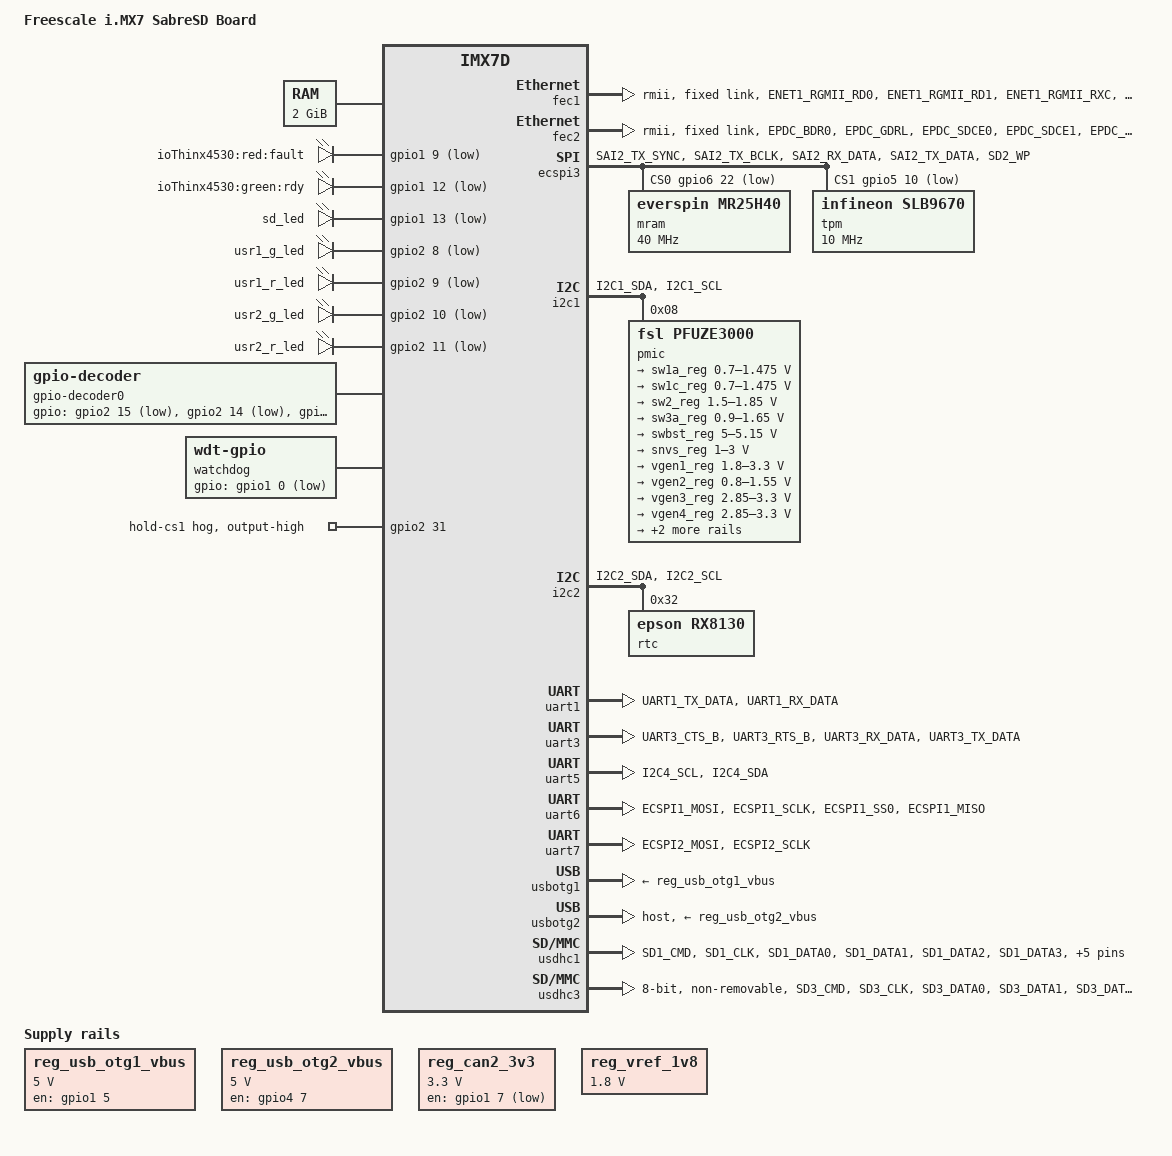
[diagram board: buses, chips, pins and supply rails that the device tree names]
/*
 * Copyright (C) 2015 Freescale Semiconductor, Inc.
 *
 * This file is dual-licensed: you can use it either under the terms
 * of the GPL or the X11 license, at your option. Note that this dual
 * licensing only applies to this file, and not this project as a
 * whole.
 *
 *  a) This file is free software; you can redistribute it and/or
 *     modify it under the terms of the GNU General Public License as
 *     published by the Free Software Foundation; either version 2 of the
 *     License, or (at your option) any later version.
 *
 *     This file is distributed in the hope that it will be useful,
 *     but WITHOUT ANY WARRANTY; without even the implied warranty of
 *     MERCHANTABILITY or FITNESS FOR A PARTICULAR PURPOSE.  See the
 *     GNU General Public License for more details.
 *
 * Or, alternatively,
 *
 *  b) Permission is hereby granted, free of charge, to any person
 *     obtaining a copy of this software and associated documentation
 *     files (the "Software"), to deal in the Software without
 *     restriction, including without limitation the rights to use,
 *     copy, modify, merge, publish, distribute, sublicense, and/or
 *     sell copies of the Software, and to permit persons to whom the
 *     Software is furnished to do so, subject to the following
 *     conditions:
 *
 *     The above copyright notice and this permission notice shall be
 *     included in all copies or substantial portions of the Software.
 *
 *     THE SOFTWARE IS PROVIDED "AS IS", WITHOUT WARRANTY OF ANY KIND,
 *     EXPRESS OR IMPLIED, INCLUDING BUT NOT LIMITED TO THE WARRANTIES
 *     OF MERCHANTABILITY, FITNESS FOR A PARTICULAR PURPOSE AND
 *     NONINFRINGEMENT. IN NO EVENT SHALL THE AUTHORS OR COPYRIGHT
 *     HOLDERS BE LIABLE FOR ANY CLAIM, DAMAGES OR OTHER LIABILITY,
 *     WHETHER IN AN ACTION OF CONTRACT, TORT OR OTHERWISE, ARISING
 *     FROM, OUT OF OR IN CONNECTION WITH THE SOFTWARE OR THE USE OR
 *     OTHER DEALINGS IN THE SOFTWARE.
 */

/dts-v1/;

#include <dt-bindings/input/input.h>
#include "imx7d.dtsi"

/ {
	model = "Freescale i.MX7 SabreSD Board";
	compatible = "fsl,imx7d-sdb", "fsl,imx7d";

	memory {
		reg = <0x80000000 0x80000000>;
	};

	regulators {
		compatible = "simple-bus";
		#address-cells = <1>;
		#size-cells = <0>;

		reg_usb_otg1_vbus: regulator@0 {
			compatible = "regulator-fixed";
			reg = <0>;
			regulator-name = "usb_otg1_vbus";
			regulator-min-microvolt = <5000000>;
			regulator-max-microvolt = <5000000>;
			gpio = <&gpio1 5 GPIO_ACTIVE_HIGH>;
			enable-active-high;
		};

		reg_usb_otg2_vbus: regulator@1 {
			compatible = "regulator-fixed";
			reg = <1>;
			regulator-name = "usb_otg2_vbus";
			regulator-min-microvolt = <5000000>;
			regulator-max-microvolt = <5000000>;
			gpio = <&gpio4 7 GPIO_ACTIVE_HIGH>;
			enable-active-high;
		};

		reg_can2_3v3: regulator@2 {
			compatible = "regulator-fixed";
			reg = <2>;
			regulator-name = "can2-3v3";
			regulator-min-microvolt = <3300000>;
			regulator-max-microvolt = <3300000>;
			gpio = <&gpio1 7 GPIO_ACTIVE_LOW>;
		};

		reg_vref_1v8: regulator@3 {
			compatible = "regulator-fixed";
			reg = <3>;
			regulator-name = "vref-1v8";
			regulator-min-microvolt = <1800000>;
			regulator-max-microvolt = <1800000>;
		};
	};
};

&cpu0 {
	arm-supply = <&sw1a_reg>;
};
/*
&fec1 {
	pinctrl-names = "default";
	pinctrl-0 = <&pinctrl_enet1>;
	assigned-clocks = <&clks IMX7D_ENET1_TIME_ROOT_SRC>,
			  <&clks IMX7D_ENET1_TIME_ROOT_CLK>;
	assigned-clock-parents = <&clks IMX7D_PLL_ENET_MAIN_100M_CLK>;
	assigned-clock-rates = <0>, <100000000>;
	phy-mode = "rgmii";
	phy-handle = <&ethphy0>;
	fsl,magic-packet;
	status = "okay";

	mdio {
		#address-cells = <1>;
		#size-cells = <0>;

		ethphy0: ethernet-phy@0 {
			reg = <0>;
		};

		ethphy1: ethernet-phy@1 {
			reg = <1>;
		};
	};
};
*/

&fec1 {
	pinctrl-names = "default";
	pinctrl-0 = <&pinctrl_enet1>;

	clocks = <&clks IMX7D_ENET_AXI_ROOT_CLK>,
		<&clks IMX7D_ENET_AXI_ROOT_CLK>,
		<&clks IMX7D_ENET1_TIME_ROOT_CLK>,
		<&clks IMX7D_PLL_ENET_MAIN_50M_CLK>;
	clock-names = "ipg", "ahb", "ptp",
		"enet_clk_ref";

	assigned-clocks = <&clks IMX7D_ENET1_TIME_ROOT_SRC>,
			<&clks IMX7D_ENET1_TIME_ROOT_CLK>;
	assigned-clock-parents = <&clks IMX7D_PLL_ENET_MAIN_100M_CLK>;
	assigned-clock-rates = <0>, <100000000>;
	phy-mode = "rmii";
	phy-reset-gpios = <&gpio1 2 GPIO_ACTIVE_HIGH>;
	local-mac-address = [00 04 9F 01 1B B9];
	fsl,magic-packet;
	status = "okay";
	label = "fec";

	fixed-link {
	      speed = <100>;
	      full-duplex;
	};
	mii_bus0: mdio {
		#address-cells = <1>;
		#size-cells = <0>;
	};
};

&fec2 {
	pinctrl-names = "default";
	pinctrl-0 = <&pinctrl_enet2>;

	clocks = <&clks IMX7D_ENET_AXI_ROOT_CLK>,
		<&clks IMX7D_ENET_AXI_ROOT_CLK>,
		<&clks IMX7D_ENET2_TIME_ROOT_CLK>,
		<&clks IMX7D_PLL_ENET_MAIN_50M_CLK>;
	clock-names = "ipg", "ahb", "ptp",
		"enet_clk_ref";

	assigned-clocks = <&clks IMX7D_ENET2_TIME_ROOT_SRC>,
			<&clks IMX7D_ENET2_TIME_ROOT_CLK>;
	assigned-clock-parents = <&clks IMX7D_PLL_ENET_MAIN_100M_CLK>;
	assigned-clock-rates = <0>, <100000000>;
	phy-mode = "rmii";
	local-mac-address = [00 04 9F 01 1B B8];
	fsl,magic-packet;
	status = "okay";

	fixed-link {
	      speed = <100>;
	      full-duplex;
	};
};

&ecspi3 {
	fsl,spi-num-chipselects = <2>;
        pinctrl-names = "default";
        pinctrl-0 = <&pinctrl_ecspi3>;
        cs-gpios = <&gpio6 22 GPIO_ACTIVE_LOW> , <&gpio5 10 GPIO_ACTIVE_LOW>;
        status = "okay";

        mram@0 {
                compatible = "everspin,mr25h40","mr25h40";
                #address-cells = <1>;
                #size-cells = <1>;
                spi-max-frequency = <40000000>;
                spi-cpol = <0>;
                spi-cpha = <0>;
                reg = <0>;
        };


        tpm@1 {

                compatible = "infineon,slb9670";
                #address-cells = <1>;
                #size-cells = <1>;
                spi-max-frequency = <10000000>;
                spi-cpol = <0>;
                spi-cpha = <0>;
                reg = <1>;
        };

};

&i2c1 {
	pinctrl-names = "default";
	pinctrl-0 = <&pinctrl_i2c1>;
	status = "okay";

	pmic: pfuze3000@08 {
		compatible = "fsl,pfuze3000";
		reg = <0x08>;

		regulators {
			sw1a_reg: sw1a {
				regulator-min-microvolt = <700000>;
				regulator-max-microvolt = <1475000>;
				regulator-boot-on;
				regulator-always-on;
				regulator-ramp-delay = <6250>;
			};

			/* use sw1c_reg to align with pfuze100/pfuze200 */
			sw1c_reg: sw1b {
				regulator-min-microvolt = <700000>;
				regulator-max-microvolt = <1475000>;
				regulator-boot-on;
				regulator-always-on;
				regulator-ramp-delay = <6250>;
			};

			sw2_reg: sw2 {
				regulator-min-microvolt = <1500000>;
				regulator-max-microvolt = <1850000>;
				regulator-boot-on;
				regulator-always-on;
			};

			sw3a_reg: sw3 {
				regulator-min-microvolt = <900000>;
				regulator-max-microvolt = <1650000>;
				regulator-boot-on;
				regulator-always-on;
			};

			swbst_reg: swbst {
				regulator-min-microvolt = <5000000>;
				regulator-max-microvolt = <5150000>;
			};

			snvs_reg: vsnvs {
				regulator-min-microvolt = <1000000>;
				regulator-max-microvolt = <3000000>;
				regulator-boot-on;
				regulator-always-on;
			};

			vref_reg: vrefddr {
				regulator-boot-on;
				regulator-always-on;
			};

			vgen1_reg: vldo1 {
				regulator-min-microvolt = <1800000>;
				regulator-max-microvolt = <3300000>;
				regulator-always-on;
			};

			vgen2_reg: vldo2 {
				regulator-min-microvolt = <800000>;
				regulator-max-microvolt = <1550000>;
			};

			vgen3_reg: vccsd {
				regulator-min-microvolt = <2850000>;
				regulator-max-microvolt = <3300000>;
				regulator-always-on;
			};

			vgen4_reg: v33 {
				regulator-min-microvolt = <2850000>;
				regulator-max-microvolt = <3300000>;
				regulator-always-on;
			};

			vgen5_reg: vldo3 {
				regulator-min-microvolt = <1800000>;
				regulator-max-microvolt = <3300000>;
				regulator-always-on;
			};

			vgen6_reg: vldo4 {
				regulator-min-microvolt = <1800000>;
				regulator-max-microvolt = <3300000>;
				regulator-always-on;
			};
		};
	};
};

&i2c2 {
	pinctrl-names = "default";
	pinctrl-0 = <&pinctrl_i2c2>;
	status = "okay";

	rtc@32 {
                compatible = "epson,rx8130";
                reg = <0x32>;
        };

};

&uart1 {//Debug
	pinctrl-names = "default";
	pinctrl-0 = <&pinctrl_uart1>;
	assigned-clocks = <&clks IMX7D_UART1_ROOT_SRC>;
	assigned-clock-parents = <&clks IMX7D_PLL_SYS_MAIN_240M_CLK>;
	status = "okay";
};
/*
&uart2 {//MR
	pinctrl-names = "default";
	pinctrl-0 = <&pinctrl_uart2>;
	assigned-clocks = <&clks IMX7D_UART2_ROOT_SRC>;
	assigned-clock-parents = <&clks IMX7D_PLL_SYS_MAIN_240M_CLK>;
	status = "okay";
};
*/

&uart3 {//ML
	pinctrl-names = "default";
	pinctrl-0 = <&pinctrl_uart3>;
	assigned-clocks = <&clks IMX7D_UART3_ROOT_SRC>;
	assigned-clock-parents = <&clks IMX7D_PLL_SYS_MAIN_240M_CLK>;
	status = "okay";
};

&uart5 {//serial port 2
	pinctrl-names = "default";
	pinctrl-0 = <&pinctrl_uart5>;
	assigned-clocks = <&clks IMX7D_UART5_ROOT_SRC>;
	assigned-clock-parents = <&clks IMX7D_PLL_SYS_MAIN_240M_CLK>;
	status = "okay";

	out1-gpios = <&gpio2 18 GPIO_ACTIVE_HIGH>; //P1_232_EN
	out2-gpios = <&gpio2 19 GPIO_ACTIVE_HIGH>; //P1_485_EN0
	out3-gpios = <&gpio2 24 GPIO_ACTIVE_HIGH>; //P1_485_EN1
	out4-gpios = <&gpio2 25 GPIO_ACTIVE_HIGH>; //P1_485_EN2
	out5-gpios = <&gpio2 27 GPIO_ACTIVE_HIGH>; //P2_485_EN0
	out6-gpios = <&gpio2 30 GPIO_ACTIVE_HIGH>; //P2_485_EN1
	fsl,uart-has-rtscts;

	fsl,uart-has-multimode;
	fsl,rs485-p2;

};

&uart6 {//serial port 1
	pinctrl-names = "default";
	pinctrl-0 = <&pinctrl_uart6>;
	assigned-clocks = <&clks IMX7D_UART6_ROOT_SRC>;
	assigned-clock-parents = <&clks IMX7D_PLL_SYS_MAIN_240M_CLK>;
	status = "okay";

	out1-gpios = <&gpio2 18 GPIO_ACTIVE_HIGH>; //P1_232_EN
	out2-gpios = <&gpio2 19 GPIO_ACTIVE_HIGH>; //P1_485_EN0
	out3-gpios = <&gpio2 24 GPIO_ACTIVE_HIGH>; //P1_485_EN1
	out4-gpios = <&gpio2 25 GPIO_ACTIVE_HIGH>; //P1_485_EN2
	out5-gpios = <&gpio2 27 GPIO_ACTIVE_HIGH>; //P2_485_EN0
	out6-gpios = <&gpio2 30 GPIO_ACTIVE_HIGH>; //P2_485_EN1
	fsl,uart-has-rtscts;

	fsl,uart-has-multimode;
	fsl,rs485-p1;
};

&uart7 {//824 RX/TX
	pinctrl-names = "default";
	pinctrl-0 = <&pinctrl_uart7>;
	assigned-clocks = <&clks IMX7D_UART7_ROOT_SRC>;
	assigned-clock-parents = <&clks IMX7D_PLL_SYS_MAIN_240M_CLK>;
	status = "okay";
};

&usbotg1 {
	vbus-supply = <&reg_usb_otg1_vbus>;
	status = "okay";
};

&usbotg2 {
	vbus-supply = <&reg_usb_otg2_vbus>;
	dr_mode = "host";
	status = "okay";
};

&usdhc1 {
	pinctrl-names = "default";
	pinctrl-0 = <&pinctrl_usdhc1>;
	cd-gpios = <&gpio5 0 GPIO_ACTIVE_LOW>;
	wp-gpios = <&gpio5 1 GPIO_ACTIVE_HIGH>;
	enable-sdio-wakeup;
	keep-power-in-suspend;
	status = "okay";
};

&usdhc3 {
	pinctrl-names = "default", "state_100mhz", "state_200mhz";
	pinctrl-0 = <&pinctrl_usdhc3>;
	pinctrl-1 = <&pinctrl_usdhc3_100mhz>;
	pinctrl-2 = <&pinctrl_usdhc3_200mhz>;
	assigned-clocks = <&clks IMX7D_USDHC3_ROOT_CLK>;
	assigned-clock-rates = <400000000>;
	bus-width = <8>;
	fsl,tuning-step = <2>;
	non-removable;
	status = "okay";
};
&wdog1 {
        pinctrl-names = "default";
        pinctrl-0 = <&pinctrl_wdog>;
        fsl,ext-reset-output;
};

&gpio2 {
	line_hold_cs1 {
                gpio-hog;
                gpios = <31 GPIO_ACTIVE_HIGH>;
                output-high;
                line-name = "hold-cs1";
        };
};


/ {
	m4_tcm: tcml@007f8000 {
		compatible = "fsl, m4_tcml";
		reg = <0x007f8000 0x8000>;
	};

	leds {
		compatible = "gpio-leds";
		pinctrl-0 = <&pinctrl_leds>;

		led_fault {
                        label = "ioThinx4530:red:fault";
                        gpios = <&gpio1 9 GPIO_ACTIVE_LOW>;
                        default-state = "on";
		};

		led_rdy {
                        label = "ioThinx4530:green:rdy";
                        gpios = <&gpio1 12 GPIO_ACTIVE_LOW>;
                        default-state = "on";
		};
		sd_led {
                        label = "sd_led";
                        gpios = <&gpio1 13 GPIO_ACTIVE_LOW>;
                        default-state = "on";
		};

		usr1_g_led {
                        label = "usr1_g_led";
                        gpios = <&gpio2 8 GPIO_ACTIVE_LOW>;
                        default-state = "on";
		};
		usr1_r_led {
                        label = "usr1_r_led";
                        gpios = <&gpio2 9 GPIO_ACTIVE_LOW>;
                        default-state = "on";
		};
		usr2_g_led {
                        label = "usr2_g_led";
                        gpios = <&gpio2 10 GPIO_ACTIVE_LOW>;
                        default-state = "on";
		};
		usr2_r_led {
                        label = "usr2_r_led";
                        gpios = <&gpio2 11 GPIO_ACTIVE_LOW>;
                        default-state = "on";
		};
	};

        gpio-decoder0 {
                compatible = "gpio-decoder";
                gpios = <&gpio2 15 GPIO_ACTIVE_LOW>,
                        <&gpio2 14 GPIO_ACTIVE_LOW>,
                        <&gpio2 13 GPIO_ACTIVE_LOW>,
                        <&gpio2 12 GPIO_ACTIVE_LOW>;
                linux,axis = <0>; /* ABS_X */
                decoder-max-value = <16>;
        };

	watchdog: watchdog {
                compatible = "linux,wdt-gpio";
                gpios = <&gpio1 0 GPIO_ACTIVE_LOW>;
                hw_algo = "toggle";
                hw_margin_ms = <1000>;
                always-running;
        };


        all_gpio {
                status = "okay";
                pinctrl-names = "default";
                pinctrl-0 = <&pinctrl_gpios> ,
			<&pinctrl_rortartswitch> ,
			<&pinctrl_mr_gpio>,
			<&pinctrl_ml_gpio>,
			<&pinctrl_serial3in1_gpio>;
        };
};

&iomuxc {
	pinctrl-names = "default";
	pinctrl-0 = <&pinctrl_hog>;

	imx7d-sdb {
		 pinctrl_ecspi3: ecspi3grp {
                        fsl,pins = <
                                MX7D_PAD_SAI2_TX_SYNC__ECSPI3_MISO      0x14
                                MX7D_PAD_SAI2_TX_BCLK__ECSPI3_MOSI      0x14
                                MX7D_PAD_SAI2_RX_DATA__ECSPI3_SCLK      0x14
				MX7D_PAD_SAI2_TX_DATA__GPIO6_IO22	0x00000014
				MX7D_PAD_SD2_WP__GPIO5_IO10		0x00000014
                        >;
                };


		pinctrl_enet1: enet1grp {
			fsl,pins = <
				MX7D_PAD_ENET1_RGMII_RD0__ENET1_RGMII_RD0	0x00000014
				MX7D_PAD_ENET1_RGMII_RD1__ENET1_RGMII_RD1	0x00000014
				MX7D_PAD_ENET1_RGMII_RXC__ENET1_RGMII_RXC	0x00000014
				MX7D_PAD_ENET1_RGMII_RX_CTL__ENET1_RGMII_RX_CTL	0x00000014
				MX7D_PAD_ENET1_RGMII_TD0__ENET1_RGMII_TD0	0x00000014
				MX7D_PAD_ENET1_RGMII_TD1__ENET1_RGMII_TD1	0x00000014
				/*MX7D_PAD_ENET1_RGMII_TXC__ENET1_RGMII_TXC  0x00000014*/
				MX7D_PAD_ENET1_RGMII_TX_CTL__ENET1_RGMII_TX_CTL	0x00000014
				MX7D_PAD_ENET1_TX_CLK__CCM_ENET_REF_CLK1	0x40000001

				MX7D_PAD_GPIO1_IO10__ENET1_MDIO			0x3
				MX7D_PAD_GPIO1_IO11__ENET1_MDC			0x3
			>;
		};

		pinctrl_enet2: enet2grp {
			fsl,pins = <
				MX7D_PAD_EPDC_BDR0__CCM_ENET_REF_CLK2	0x40000001
				MX7D_PAD_EPDC_GDRL__ENET2_RGMII_TX_CTL	0x00000001
				MX7D_PAD_EPDC_SDCE0__ENET2_RGMII_RX_CTL	0x00000001
				MX7D_PAD_EPDC_SDCE1__ENET2_RX_ER	0x00000001
				MX7D_PAD_EPDC_SDCE2__ENET2_RGMII_TD0	0x00000001
				MX7D_PAD_EPDC_SDCE3__ENET2_RGMII_TD1	0x00000001
				MX7D_PAD_EPDC_SDCLK__ENET2_RGMII_RD0	0x00000001
				MX7D_PAD_EPDC_SDLE__ENET2_RGMII_RD1	0x00000001
			>;
		};

		pinctrl_hog: hoggrp {
			fsl,pins = <
				MX7D_PAD_UART3_CTS_B__GPIO4_IO7		0x14
				MX7D_PAD_ECSPI2_SS0__GPIO4_IO23		0x34  /* bt reg on */
			>;
		};

		pinctrl_i2c1: i2c1grp {
			fsl,pins = <
				MX7D_PAD_I2C1_SDA__I2C1_SDA		0x4000007f
				MX7D_PAD_I2C1_SCL__I2C1_SCL		0x4000007f
			>;
		};

		pinctrl_i2c2: i2c2grp {
			fsl,pins = <
				MX7D_PAD_I2C2_SDA__I2C2_SDA		0x4000007f
				MX7D_PAD_I2C2_SCL__I2C2_SCL		0x4000007f
			>;
		};

		pinctrl_i2c3: i2c3grp {
			fsl,pins = <
				MX7D_PAD_I2C3_SDA__I2C3_SDA		0x4000007f
				MX7D_PAD_I2C3_SCL__I2C3_SCL		0x4000007f
			>;
		};

		pinctrl_i2c4: i2c4grp {
			fsl,pins = <
				MX7D_PAD_SAI1_RX_BCLK__I2C4_SDA		0x4000007f
				MX7D_PAD_SAI1_RX_SYNC__I2C4_SCL		0x4000007f
			>;
		};

		pinctrl_uart1: uart1grp {
			fsl,pins = <
				MX7D_PAD_UART1_TX_DATA__UART1_DCE_TX	0x79
				MX7D_PAD_UART1_RX_DATA__UART1_DCE_RX	0x79
			>;
		};

		pinctrl_uart2: uart2grp {
			fsl,pins = <
				MX7D_PAD_UART2_TX_DATA__UART2_DCE_TX	0x79
				MX7D_PAD_UART2_RX_DATA__UART2_DCE_RX 	0x79
			>;
		};

		pinctrl_uart3: uart3grp {
			fsl,pins = <
				MX7D_PAD_UART3_CTS_B__UART3_DTE_RTS	0x79
				MX7D_PAD_UART3_RTS_B__UART3_DCE_RTS	0x79
				MX7D_PAD_UART3_RX_DATA__UART3_DCE_RX	0x79
				MX7D_PAD_UART3_TX_DATA__UART3_DCE_TX	0x79
			>;
		};

		pinctrl_uart5: uart5grp {
			fsl,pins = <
				MX7D_PAD_I2C4_SCL__UART5_DCE_RX		0x79
				MX7D_PAD_I2C4_SDA__UART5_DCE_TX		0x79
			>;
		};

		pinctrl_uart6: uart6grp {
			fsl,pins = <
				MX7D_PAD_ECSPI1_MOSI__UART6_DCE_TX	0x79
				MX7D_PAD_ECSPI1_SCLK__UART6_DCE_RX	0x79
				MX7D_PAD_ECSPI1_SS0__UART6_DCE_CTS	0x79
				MX7D_PAD_ECSPI1_MISO__UART6_DCE_RTS	0x79
			>;
		};

		pinctrl_uart7: uart7grp {
			fsl,pins = <
				MX7D_PAD_ECSPI2_MOSI__UART7_DTE_RX	0x79
				MX7D_PAD_ECSPI2_SCLK__UART7_DTE_TX	0x79
			>;
		};

		pinctrl_usdhc1: usdhc1grp {
			fsl,pins = <
				MX7D_PAD_SD1_CMD__SD1_CMD		0x59
				MX7D_PAD_SD1_CLK__SD1_CLK		0x19
				MX7D_PAD_SD1_DATA0__SD1_DATA0		0x59
				MX7D_PAD_SD1_DATA1__SD1_DATA1		0x59
				MX7D_PAD_SD1_DATA2__SD1_DATA2		0x59
				MX7D_PAD_SD1_DATA3__SD1_DATA3		0x59
				MX7D_PAD_SD1_CD_B__GPIO5_IO0		0x59 /* CD */
				MX7D_PAD_SD1_WP__GPIO5_IO1		0x59 /* WP */
				MX7D_PAD_SD1_RESET_B__GPIO5_IO2		0x59 /* vmmc */
			>;
		};

		pinctrl_usdhc3: usdhc3grp {
			fsl,pins = <
				MX7D_PAD_SD3_CMD__SD3_CMD		0x59
				MX7D_PAD_SD3_CLK__SD3_CLK		0x19
				MX7D_PAD_SD3_DATA0__SD3_DATA0		0x59
				MX7D_PAD_SD3_DATA1__SD3_DATA1		0x59
				MX7D_PAD_SD3_DATA2__SD3_DATA2		0x59
				MX7D_PAD_SD3_DATA3__SD3_DATA3		0x59
				MX7D_PAD_SD3_DATA4__SD3_DATA4		0x59
				MX7D_PAD_SD3_DATA5__SD3_DATA5		0x59
				MX7D_PAD_SD3_DATA6__SD3_DATA6		0x59
				MX7D_PAD_SD3_DATA7__SD3_DATA7		0x59
				MX7D_PAD_SD3_RESET_B__SD3_RESET_B	0x14
				MX7D_PAD_SD3_STROBE__SD3_STROBE		0x19
			>;
		};

		pinctrl_usdhc3_100mhz: usdhc3grp_100mhz {
			fsl,pins = <
				MX7D_PAD_SD3_CMD__SD3_CMD		0x5a
				MX7D_PAD_SD3_CLK__SD3_CLK		0x1a
				MX7D_PAD_SD3_DATA0__SD3_DATA0		0x5a
				MX7D_PAD_SD3_DATA1__SD3_DATA1		0x5a
				MX7D_PAD_SD3_DATA2__SD3_DATA2		0x5a
				MX7D_PAD_SD3_DATA3__SD3_DATA3		0x5a
				MX7D_PAD_SD3_DATA4__SD3_DATA4		0x5a
				MX7D_PAD_SD3_DATA5__SD3_DATA5		0x5a
				MX7D_PAD_SD3_DATA6__SD3_DATA6		0x5a
				MX7D_PAD_SD3_DATA7__SD3_DATA7		0x5a
				MX7D_PAD_SD3_RESET_B__SD3_RESET_B	0x14
				MX7D_PAD_SD3_STROBE__SD3_STROBE		0x1a
			>;
		};

		pinctrl_usdhc3_200mhz: usdhc3grp_200mhz {
			fsl,pins = <
				MX7D_PAD_SD3_CMD__SD3_CMD		0x5b
				MX7D_PAD_SD3_CLK__SD3_CLK		0x1b
				MX7D_PAD_SD3_DATA0__SD3_DATA0		0x5b
				MX7D_PAD_SD3_DATA1__SD3_DATA1		0x5b
				MX7D_PAD_SD3_DATA2__SD3_DATA2		0x5b
				MX7D_PAD_SD3_DATA3__SD3_DATA3		0x5b
				MX7D_PAD_SD3_DATA4__SD3_DATA4		0x5b
				MX7D_PAD_SD3_DATA5__SD3_DATA5		0x5b
				MX7D_PAD_SD3_DATA6__SD3_DATA6		0x5b
				MX7D_PAD_SD3_DATA7__SD3_DATA7		0x5b
				MX7D_PAD_SD3_RESET_B__SD3_RESET_B	0x14
				MX7D_PAD_SD3_STROBE__SD3_STROBE		0x1b
			>;
		};
		pinctrl_leds: leds_grp {
			fsl,pins = <
				MX7D_PAD_GPIO1_IO09__GPIO1_IO9             0x00000014
				MX7D_PAD_GPIO1_IO12__GPIO1_IO12            0x00000014
				MX7D_PAD_GPIO1_IO13__GPIO1_IO13            0x00000014

				MX7D_PAD_EPDC_DATA08__GPIO2_IO8            0x00000014
				MX7D_PAD_EPDC_DATA09__GPIO2_IO9            0x00000014
				MX7D_PAD_EPDC_DATA10__GPIO2_IO10           0x00000014
				MX7D_PAD_EPDC_DATA11__GPIO2_IO11           0x00000014

				MX7D_PAD_GPIO1_IO00__GPIO1_IO0             0x00000059
			>;
		};

		pinctrl_gpios: gpios_grp {
                        fsl,pins = <
				MX7D_PAD_EPDC_PWR_STAT__GPIO2_IO31         0x00000014	/*HOLD_CS1*/
                        >;
                };

		pinctrl_rortartswitch: rortartswitch {
			fsl,pins = <
				MX7D_PAD_EPDC_DATA12__GPIO2_IO12           0x00000014	/*rortart switch bit 0 */
				MX7D_PAD_EPDC_DATA13__GPIO2_IO13           0x00000014	/*rortart switch bit 1 */
				MX7D_PAD_EPDC_DATA14__GPIO2_IO14           0x00000014	/*rortart switch bit 2 */
				MX7D_PAD_EPDC_DATA15__GPIO2_IO15           0x00000014	/*rortart switch bit 3 */
			>;
		};

		pinctrl_mr_gpio: mrgpio {
			fsl,pins = <
				MX7D_PAD_SD2_DATA0__GPIO5_IO14             0x00000014	/*R_SYNC*/
				MX7D_PAD_SD2_DATA1__GPIO5_IO15             0x00000014	/*R_POWER_FAIL*/
				MX7D_PAD_SD2_DATA2__GPIO5_IO16             0x00000014	/*R_RST*/
				MX7D_PAD_SD2_DATA3__GPIO5_IO17             0x00000014	/*R_ID*/
			>;
		};

		pinctrl_ml_gpio: mlgpio {
			fsl,pins = <
				MX7D_PAD_ENET1_RGMII_TD2__GPIO7_IO8        0x00000014	/*L_ID_OUT*/
				MX7D_PAD_ENET1_RGMII_TD3__GPIO7_IO9        0x00000014	/*L_SYNC_OUT*/
				MX7D_PAD_ENET1_RGMII_RD2__GPIO7_IO2        0x00000014	/*L_RST_OUT*/
				MX7D_PAD_ENET1_RGMII_RD3__GPIO7_IO3        0x00000014	/*L_POWER_FAIL_OU*/
				MX7D_PAD_ENET1_RGMII_TXC__GPIO7_IO11       0x00000014	/*L_INT_OUT*/
			>;
		};
		pinctrl_serial3in1_gpio: serial3in1_gpio {
			fsl,pins = <
				MX7D_PAD_EPDC_SDOE__GPIO2_IO18             0x00000014	/*P1_232_EN*/
				MX7D_PAD_EPDC_SDSHR__GPIO2_IO19            0x00000014	/*P1_485_EN0*/
				MX7D_PAD_EPDC_GDCLK__GPIO2_IO24            0x00000014	/*P1_485_EN1*/
				MX7D_PAD_EPDC_GDOE__GPIO2_IO25             0x00000014	/*P1_485_EN2*/
				MX7D_PAD_EPDC_GDSP__GPIO2_IO27             0x00000014	/*P2_485_EN0*/
				MX7D_PAD_EPDC_PWR_COM__GPIO2_IO30          0x00000014	/*P2_485_EN1*/
			>;
		};

	};
};

&iomuxc_lpsr {
        pinctrl_wdog: wdoggrp {
                fsl,pins = <
                        MX7D_PAD_GPIO1_IO00__GPIO1_IO0             0x14
                >;
        };
};
